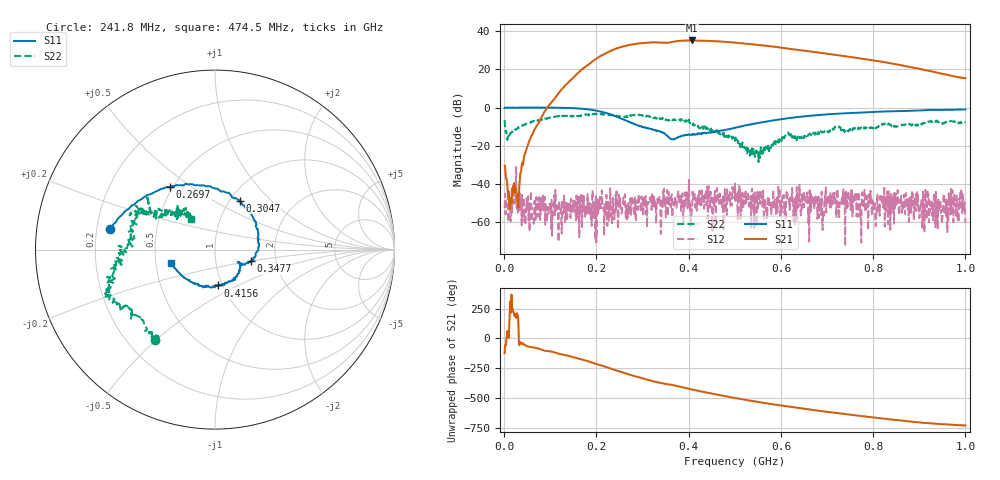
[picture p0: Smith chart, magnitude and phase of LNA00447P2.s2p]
! Created with skrf 1.9.0 (http://scikit-rf.org).
# Hz S RI R 50.0
!freq ReS11 ImS11 ReS21 ImS21 ReS12 ImS12 ReS22 ImS22
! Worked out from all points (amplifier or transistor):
!   1001 points, 1 MHz to 1 GHz, reference 50 ohm
!   highest |S21| = 35.1 dB at 406.6 MHz (marker M1)
!   |S21| within 3 dB of that: 260.2 MHz to 574.4 MHz (314.2 MHz wide, 75.3 % of centre) (the widest 1 of 2)
!   unconditionally stable (mu >= 1): 212.7 MHz to 229.3 MHz; 230.4 MHz to 400.3 MHz; 400.9 MHz to end of sweep (the widest 3 of 37)
!   at 166.8 MHz: K = 0.18, MSG = 32.1 dB, |S12| = -44.7 dB
!   at 500.5 MHz: K = 1.08, MAG = 35.1 dB, |S12| = -39.7 dB
!   at 1 GHz: K = 14.27, MAG = 23.2 dB, |S12| = -60.2 dB
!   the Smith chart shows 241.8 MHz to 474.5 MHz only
!   S11 on the Smith chart (normalised r, x): 241.8 MHz: 0.25, +0.09; 269.7 MHz: 0.49, +0.41; 304.7 MHz: 1.11, +0.67; 347.7 MHz: 1.48, -0.20; 415.6 MHz: 0.95, -0.39; 474.5 MHz: 0.60, -0.09
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1000000  0.9675 0.00529  -0.0171 -0.0253  -0.00227 0.00064  0.3939 0.2689
1.08892e8  0.5308 -0.8425  -0.7846 -1.509  0.000394 -0.00521  0.4214 -0.3864
1.67833e8  -0.2134 -0.9073  -9.75 -0.6622  0.00116 -0.00118  0.0353 -0.6329
2.09791e8  -0.6657 -0.4106  -15.78 16.26  0.00189 -0.00134  -0.1943 -0.6399
2.41759e8  -0.5861 0.1151  -1.945 34.54  -0.0038 0.00365  -0.3334 -0.5063
2.69731e8  -0.2496 0.3468  22.29 36.64  -0.00101 -0.00306  -0.4959 -0.3067
3.04696e8  0.1378 0.2726  46.55 16.25  -0.0012 0.00251  -0.5906 -0.1683
3.34666e8  0.2453 0.0252  49.72 -9.015  -0.00179 0.00223  -0.5269 -0.0226
3.47653e8  0.198 -0.0645  46.39 -17.44  -0.00202 0.00184  -0.4822 0.0445
3.75625e8  0.1402 -0.0849  42.11 -35.18  -0.00107 0.0042  -0.4454 0.1944
4.06594e8  0.0663 -0.1857  21.87 -52.66  -0.00145 0.00165  -0.3235 0.2222
4.15585e8  0.0148 -0.1995  14.75 -54.82  0.00357 0.00103  -0.2807 0.2061
4.43557e8  -0.1289 -0.1807  -7.242 -54.79  0.00548 0.00689  -0.1989 0.2025
4.74526e8  -0.2433 -0.0721  -27.3 -45.19  0.00146 0.00451  -0.1322 0.1721
5.005e8  -0.294 0.0675  -38.2 -32.55  0.00823 0.00623  -0.0638 0.1189
5.4046e8  -0.2478 0.2833  -43.61 -10.67  0.00588 -0.00125  -0.0692 0.0459
5.88412e8  -0.0725 0.4672  -37.06 10.73  0.00298 -0.000722  -0.0941 -0.0555
6.67333e8  0.3068 0.5375  -14.82 24.74  -0.00054 -0.00464  -0.2068 -0.0491
7.53247e8  0.6183 0.3764  3.931 20.42  -0.00241 -0.001  -0.2696 0.0136
8.34166e8  0.7808 0.1428  10.78 9.966  -0.000719 0.00392  -0.378 0.0272
9.09091e8  0.8443 -0.1142  9.573 2.088  -0.000952 -0.00144  -0.3337 0.1823
1e9  0.8071 -0.393  5.766 -0.9941  0.00054 -0.000814  -0.2728 0.3288
